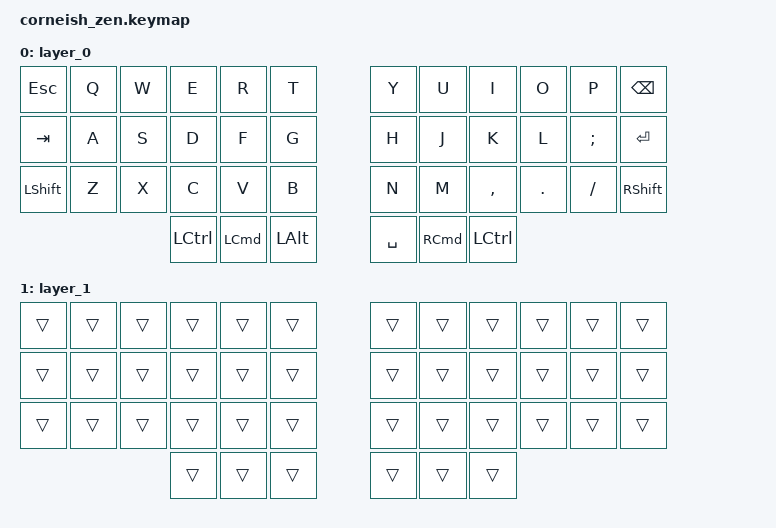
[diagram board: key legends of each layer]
#define CONFIG_WIRELESS

#define ZMK_BASE_LAYER(name, LT, RT, LM, RM, LB, RB, LH, RH)                   \
    ZMK_LAYER(                                                                 \
        name,                                                                  \
                 LT RT                                                         \
                 LM RM                                                         \
                 LB RB                                                         \
        &kp LGUI LH RH &smart_mouse                                            \
    )

#include "zmk-helpers/key-labels/36.h"
#include "base.keymap"
#include <behaviors.dtsi>
#include <dt-bindings/zmk/keys.h>

/ {
    chosen { zmk,physical-layout = &foostan_corne_5col_layout; };

    behaviors {
        new_behavior: new_behavior {
            compatible = "zmk,behavior-toggle-layer";
            label = "NEW_BEHAVIOR";
            #binding-cells = <1>;
        };
    };

    keymap {
        compatible = "zmk,keymap";

        layer_0 {
            bindings = <
&kp ESC    &kp Q  &kp W  &kp E      &kp R             &kp T           &kp Y      &kp U              &kp I      &kp O    &kp P     &kp BSPC
&kp TAB    &kp A  &kp S  &kp D      &kp F             &kp G           &kp H      &kp J              &kp K      &kp L    &kp SEMI  &kp RET
&kp LSHFT  &kp Z  &kp X  &kp C      &kp V             &kp B           &kp N      &kp M              &kp COMMA  &kp DOT  &kp FSLH  &kp RSHFT
                         &kp LCTRL  &kp LEFT_COMMAND  &kp LEFT_ALT    &kp SPACE  &kp RIGHT_COMMAND  &kp LCTRL
            >;
        };

        layer_1 {
            bindings = <
&trans  &trans  &trans  &trans  &trans  &trans    &trans  &trans  &trans  &trans  &trans  &trans
&trans  &trans  &trans  &trans  &trans  &trans    &trans  &trans  &trans  &trans  &trans  &trans
&trans  &trans  &trans  &trans  &trans  &trans    &trans  &trans  &trans  &trans  &trans  &trans
                        &trans  &trans  &trans    &trans  &trans  &trans
            >;
        };
    };

    conditional_layers {
        compatible = "zmk,conditional-layers";

        switch {
            if-layers = <0>;
            then-layer = <1>;
        };

        back {
            if-layers = <1>;
            then-layer = <0>;
        };
    };
};
